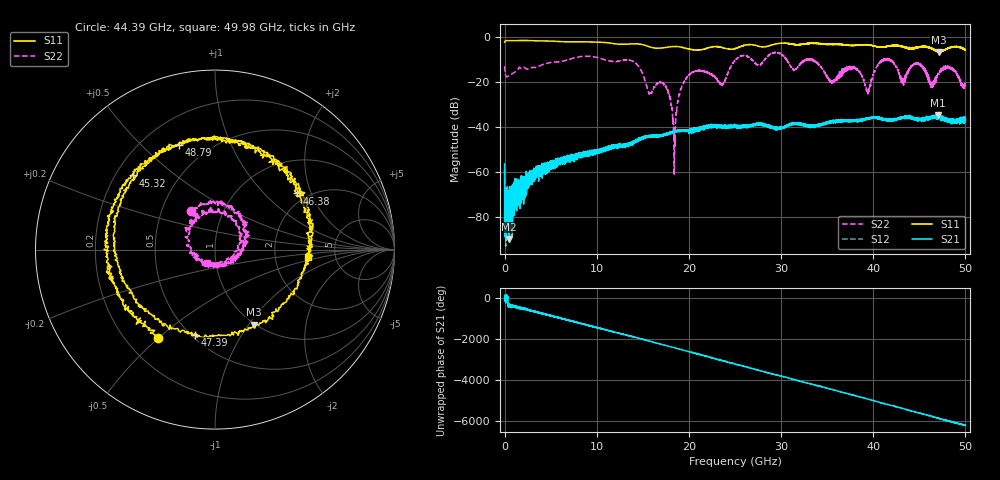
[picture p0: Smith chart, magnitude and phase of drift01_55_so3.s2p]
!Created with skrf (http://scikit-rf.org).
# Hz S RI R 50.0
!freq ReS11 ImS11 ReS21 ImS21 ReS12 ImS12 ReS22 ImS22
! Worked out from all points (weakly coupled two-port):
!   10001 points, 300 kHz to 50 GHz, reference 50 ohm
!   highest |S21| = -34.47 dB at 47.03 GHz (marker M1); lowest = -89.6 dB at 505.3 MHz (marker M2)
!   lowest |S11| = -6.6 dB at 47.1 GHz (marker M3), VSWR 2.78, Z = 49.3 - j52.9 ohm
!   |S11| at or under -10 dB: nowhere
!   |S22| runs from -61.4 to -6.7 dB; largest |S21 - S12| = 0.0041
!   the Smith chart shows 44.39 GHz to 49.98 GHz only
!   S11 on the Smith chart (normalised r, x): 44.39 GHz: 0.33, -0.50; 45.32 GHz: 0.27, +0.36; 46.38 GHz: 1.76, +1.59; 47.39 GHz: 0.52, -0.65; 48.79 GHz: 0.35, +0.66; 49.98 GHz: 3.14, -0.36
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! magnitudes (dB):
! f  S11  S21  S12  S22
! 300 kHz  -2.1  -56.3  -58.8  -12.8
! 505.3 MHz  -1.4  -89.6  -68.9  -16.9
! 8.335 GHz  -1.9  -52.8  -52.3  -8.5
! 16.67 GHz  -4.8  -43.6  -43.9  -19.9
! 17.74 GHz  -4.3  -43.2  -42.7  -24.2
! 18.44 GHz  -4.0  -41.8  -41.7  -48.0
! 19.93 GHz  -5.1  -41.6  -41.6  -17.1
! 23.61 GHz  -4.5  -39.3  -39.5  -20.8
! 25 GHz  -5.0  -39.2  -39.8  -10.2
! 33.34 GHz  -2.6  -39.3  -39.3  -9.8
! 39.45 GHz  -3.3  -36.2  -36.0  -23.7
! 41.67 GHz  -3.8  -36.5  -36.9  -9.9
! 43.19 GHz  -4.1  -35.7  -35.7  -19.2
! 44.39 GHz  -4.7  -35.8  -36.1  -11.9
! 45.32 GHz  -4.2  -37.0  -36.3  -13.2
! 46.38 GHz  -5.1  -35.1  -35.1  -20.5
! 47.03 GHz  -6.3  -34.5  -35.3  -16.1
! 47.1 GHz  -6.6  -35.5  -35.5  -16.3
! 47.39 GHz  -6.2  -35.2  -35.7  -14.2
! 48.79 GHz  -4.2  -36.6  -37.7  -14.8
! 49.98 GHz  -5.6  -35.7  -35.9  -21.2
! 50 GHz  -5.5  -36.8  -37.0  -21.7
